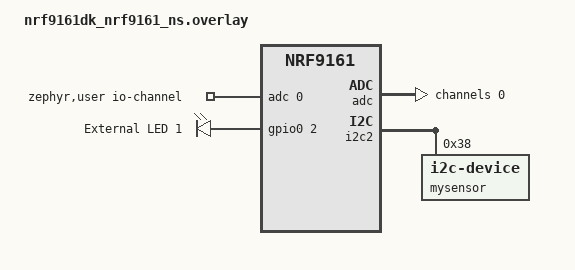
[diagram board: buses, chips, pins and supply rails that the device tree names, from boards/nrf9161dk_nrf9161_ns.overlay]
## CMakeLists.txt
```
# SPDX-License-Identifier: Apache-2.0

cmake_minimum_required(VERSION 3.20.0)

find_package(Zephyr REQUIRED HINTS $ENV{ZEPHYR_BASE})
project(inter_less8_exer4_solution)

target_sources(app PRIVATE src/main.c)
target_sources(app PRIVATE src/cloud_connection.c)

zephyr_include_directories(src)
```

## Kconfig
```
#
# Copyright (c) 2019 Nordic Semiconductor ASA
#
# SPDX-License-Identifier: LicenseRef-Nordic-5-Clause
#

menu "Bike Sharing"

config COAP_SERVER_HOSTNAME
	string "californium.eclipseprojects.io"

config COAP_SERVER_PORT
	int "CoAP server port"
	default 5683

config COAP_TX_RESOURCE
	string "CoAP resource - this is the TX channel of the board"
	default "large-update"

config COAP_RX_RESOURCE
	string "CoAP resource - this is the RX channel of the board"
	default "validate"

config TRACKER_PERIODIC_INTERVAL
	int "Fix interval for periodic GPS fixes. This determines your tracking frequency"
	range 10 65535
	default 120
	help
	  Fix interval (in seconds) for periodic fixes.

config TRACKER_PERIODIC_TIMEOUT
	int "Fix timeout for periodic GPS fixes"
	range 0 65535
	default 600
	help
	  Fix timeout (in seconds) for periodic fixes.
	  If set to zero, GNSS is allowed to run indefinitely until a valid PVT estimate is produced.

config GNSS_LOW_ACCURACY
	bool "Allow low accuracy fixes."
	help
	  Helps with faster fixes.GNSS demonstrates a looser acceptance criterion for a fix.

config GNSS_HIGH_ACCURACY_TIMING_SOURCE
	bool "Use Crystal oscillator"
	help
	  Use crystal oscillator (TCXO) timing source for the GNSS interface 
	  instead of the default Real time clock (RTC).TCXO has higher power consumption than RTC

endmenu

menu "Zephyr Kernel"
source "Kconfig.zephyr"
endmenu
```

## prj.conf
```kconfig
#
# Copyright (c) 2019 Nordic Semiconductor ASA
#
# SPDX-License-Identifier: LicenseRef-Nordic-5-Clause
#

# Logging
CONFIG_LOG=y
CONFIG_LOG_BUFFER_SIZE=20480

# Button and LED support
CONFIG_DK_LIBRARY=y

# NewLib C
CONFIG_NEWLIB_LIBC=y

# Floating point support
CONFIG_NEWLIB_LIBC_FLOAT_PRINTF=y
CONFIG_FPU=y

# JSON
CONFIG_CJSON_LIB=y
CONFIG_JSON_LIBRARY=y

# Network
CONFIG_NETWORKING=y
CONFIG_NET_NATIVE=n
CONFIG_NET_SOCKETS=y
CONFIG_NET_SOCKETS_OFFLOAD=y
CONFIG_NET_SOCKETS_POSIX_NAMES=y

# Memory
CONFIG_HEAP_MEM_POOL_SIZE=4096
CONFIG_MAIN_STACK_SIZE=8192

# Modem library
CONFIG_NRF_MODEM_LIB=y
CONFIG_MODEM_KEY_MGMT=y

# LTE link control
CONFIG_LTE_LINK_CONTROL=y
CONFIG_LTE_NETWORK_MODE_LTE_M_NBIOT=y
CONFIG_LTE_NETWORK_MODE_LTE_M_NBIOT_GPS=y

# AT commands interface
CONFIG_AT_HOST_LIBRARY=n
CONFIG_UART_INTERRUPT_DRIVEN=y

# GNSS
CONFIG_TRACKER_PERIODIC_INTERVAL=20
CONFIG_TRACKER_PERIODIC_TIMEOUT=50
CONFIG_GNSS_LOW_ACCURACY=n
CONFIG_GNSS_HIGH_ACCURACY_TIMING_SOURCE=n

# CoAP
CONFIG_COAP=y
CONFIG_COAP_SERVER_HOSTNAME="3.18.123.201"
CONFIG_COAP_TX_RESOURCE="cse-in/ae_11111"
CONFIG_COAP_RX_RESOURCE="cse-in/ae_11111"

# I2C
CONFIG_I2C=y
CONFIG_TFM_SECURE_UART=n
CONFIG_TFM_LOG_LEVEL_SILENCE=y

# ADC
CONFIG_ADC=y

# External Antenna
CONFIG_MODEM_ANTENNA=y #  Use modem antenna library
CONFIG_MODEM_ANTENNA_GNSS_ONBOARD=n # Disable onboard antenna
CONFIG_MODEM_ANTENNA_GNSS_EXTERNAL=y # Enable external antenna
CONFIG_MODEM_ANTENNA_AT_COEX0="AT%XCOEX0" # Disable onboard LNA

# GPIO
CONFIG_GPIO=y
```

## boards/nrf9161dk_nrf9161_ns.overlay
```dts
/ {
	zephyr,user {
		io-channels = <&adc 0>;
	};

	leds {
		extled1: ext-led-1 {
			gpios = <&gpio0 2 0>;
			label = "External LED 1";
		};
	};
};

&adc {
	#address-cells = <1>;
	#size-cells = <0>;
	status = "okay";
	channel@0 {
		reg = <0>;
		zephyr,gain = "ADC_GAIN_1_3";
		zephyr,reference = "ADC_REF_INTERNAL";
		zephyr,acquisition-time = <ADC_ACQ_TIME(ADC_ACQ_TIME_MICROSECONDS, 40)>;
		zephyr,input-positive = <NRF_SAADC_AIN4>; /* P0.17 for nRF916x*/
		zephyr,input-negative = <NRF_SAADC_AIN3>; /* P0.16 for nRF916x*/
		zephyr,resolution = <12>;
		zephyr,oversampling = <8>;
	};
};

&i2c2 {  
    mysensor: mysensor@38{
        compatible = "i2c-device";
        status = "okay";
        reg = < 0x38 >;
    };
};
```

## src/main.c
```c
/*
 * Copyright (c) 2019 Nordic Semiconductor ASA
 *
 * SPDX-License-Identifier: LicenseRef-Nordic-5-Clause
 */

#include <stdio.h>
#include <ncs_version.h>
#include <zephyr/kernel.h>
#include <zephyr/net/socket.h>
#include <zephyr/logging/log.h>
#include <modem/nrf_modem_lib.h>
#include <modem/lte_lc.h>
#include <dk_buttons_and_leds.h>
#include <zephyr/random/random.h>
#include <string.h>
#include "lte.h"
#include "coap_onem2m.h"
#include <zephyr/net/coap.h>
#include "i2c.h"
#include <zephyr/drivers/i2c.h>
#include <zephyr/sys/printk.h>
#include <zephyr/device.h>
#include <zephyr/devicetree.h>
#include "gnss.h"
#include <nrf_modem_gnss.h>
#include "battery.h"
#include <zephyr/sys/time_units.h>
#include <zephyr/drivers/gpio.h>

/*
testing_mode = 0: GNSS is used
testing_mode = 1: Mock GNSS data is used
testing_mode = 2: Mock GNSS data is used, end after one iteration
*/
int testing_mode = 1;

// Configure GPIO pins for external LED
#define EXTERNAL_LED_NODE DT_NODELABEL(extled1)
static const struct gpio_dt_spec lockled = GPIO_DT_SPEC_GET(EXTERNAL_LED_NODE, gpios);

int resolve_address_lock = 0;

// Define data points structures
union resource_data resource_placeholder;

struct bike bike_placeholder = {
	.latie = 0.0,
	.longe = 0.0,
	.tempe = 70.00,
	.speed = 3.20,
	.accel = 1.80
};

struct battery battery_placeholder = {
	.lvl = 0,
	.lowBy = false
};

struct mesh_connectivity mesh_placeholder = {
	.neibo = "00000",
	.stnr = 0,
};

struct lock lock_placeholder = {
	.lock = true
};

// Register this as the main module
LOG_MODULE_REGISTER(Main_Module, LOG_LEVEL_INF);

// Handler for button events
static void button_handler(uint32_t button_state, uint32_t has_changed)
{
	int err, received;

	// Button 1: Get lock data
	if (has_changed & DK_BTN1_MSK && button_state & DK_BTN1_MSK) {
		LOG_INF("Button 1 pressed\n");

		err = client_get_send(LOCK);
		if (err != 0) {
			LOG_ERR("Failed to send GET request...\n");
			return;
		}
		
		received = onem2m_receive();
		onem2m_parse(received, LOCK);	

		LOG_INF("Lock status: %s", lock_placeholder.lock ? "true" : "false");
		gpio_pin_set_dt(&lockled, lock_placeholder.lock);
	}

	// Button 2: Send bike data
	else if (has_changed & DK_BTN2_MSK && button_state & DK_BTN2_MSK) {
		LOG_INF("Button 2 pressed");

		bike_placeholder.latie += 1.0;
		bike_placeholder.longe += 1.0;
		resource_placeholder.bikedata = bike_placeholder;
		
		err = client_put_send(resource_placeholder, BIKEDATA);
		if (err != 0) {
			LOG_ERR("Failed to send PUT request...\n");
			return;
		}

		received = onem2m_receive();
		onem2m_parse(received, BIKEDATA);
	}

	// Button 3: Send battery data
	else if (has_changed & DK_BTN3_MSK && button_state & DK_BTN3_MSK) {
		LOG_INF("Button 3 pressed");

		battery_placeholder.lvl = get_battery_level();
		resource_placeholder.batterydata = battery_placeholder;
		
		err = client_put_send(resource_placeholder, BATTERY);
		if (err != 0) {
			LOG_ERR("Failed to send PUT request...\n");
			return;
		}
		
		received = onem2m_receive();
		onem2m_parse(received, BATTERY);
	}

	// Button 4: Send mesh data
	else if (has_changed & DK_BTN4_MSK && button_state & DK_BTN4_MSK) {
		LOG_INF("Button 4 pressed");

		mesh_placeholder.stnr += 1;
		resource_placeholder.meshdata = mesh_placeholder;

		err = client_put_send(resource_placeholder, MESH_CONNECTIVITY);
		if (err != 0) {
			LOG_ERR("Failed to send PUT request...\n");
			return;
		}
		
		received = onem2m_receive();
		onem2m_parse(received, MESH_CONNECTIVITY);
	}
}

// Initialization sequence function
static int init_all(void)
{
	// Initialize LED library
	if (dk_leds_init() != 0) {
		LOG_ERR("Failed to initialize the LED library");
		return -1;
	}

	// Configure modem
	if (modem_configure() != 0) {
		LOG_ERR("Failed to configure the modem");
		return -1;
	}

	// Initialize button library
	if (dk_buttons_init(button_handler) != 0) {
		LOG_ERR("Failed to initialize the buttons library");
		return -1;
	}

	// Initialize I2C temperature sensor
	if (i2c_init_temp_probe() != 0) {
		return -1;
	}

	// Initialize ADC battery monitoring
	if (battery_init() != 0) {
		return -1;
	}

	// Initialize GNSS if testing_mode is 0
	if (testing_mode == 0) {
		if (gnss_init() != 0) {
			return -1;
		}
	}
	
	// Initialize GPIO for external LED
	gpio_pin_configure_dt(&lockled, GPIO_OUTPUT_ACTIVE);
	gpio_pin_set_dt(&lockled, lock_placeholder.lock);

	return 0;
}

int main(void)
{
	int err, received;

	uint64_t start_time, end_time, loop_duration;
	int sleep_duration;
	int iteration_count = 0;

	struct nrf_modem_gnss_pvt_data_frame gnss_data;
	bool first_fix = false;

	// Initialization
	if (init_all() != 0) {
		LOG_ERR("Failed to initialize the application");
		return 0;
	}

	// Main loop
	while (1) {
		start_time = k_uptime_get();

		// Acquire data from GNSS receiver and sensors
		int lvl_temp = get_battery_level();
		bike_placeholder.tempe = i2c_get_temp();
		
		// A. If GNSS is available, use GNSS data
		if (testing_mode == 0) {
			k_sem_take(&gnss_fix_obtained, K_SECONDS(180)); // Await GNSS fix
			
			// Acquire data from GNSS receiver and sensors
			gnss_data = get_current_pvt();
			if (gnss_data.latitude != 0.0 || gnss_data.longitude != 0.0) {
				bike_placeholder.latie = gnss_data.latitude;
				bike_placeholder.longe = gnss_data.longitude;
				bike_placeholder.speed = gnss_data.speed;
				first_fix = true;
			}
		}
		
		// B. If GNSS is not available, use mock data
		else if (testing_mode >= 1) {
			bike_placeholder.latie = (40.791515) + ((sys_rand16_get() % 2 == 0 ? 1 : -1) * (sys_rand16_get() % 20 * 0.00001));
			bike_placeholder.longe = (-77.870764) + ((sys_rand16_get() % 2 == 0 ? 1 : -1) * (sys_rand16_get() % 20 * 0.00001));
			bike_placeholder.speed += ((sys_rand16_get() % 2 == 0 ? 1 : -1) * (sys_rand16_get() % 100 * 0.1));
			if (bike_placeholder.speed < 0) {
				bike_placeholder.speed = 0;
			}
			first_fix = true;
		}

		// Activate LTE
		if (lte_lc_func_mode_set(LTE_LC_FUNC_MODE_NORMAL) != 0) {
			LOG_ERR("Failed to activate LTE");
			continue;
		}

		if (k_sem_take(&lte_connected, K_SECONDS(30)) != 0) {
			LOG_ERR("Failed to connect to LTE network in time");
			LOG_INF("Modem restarting\n");
			nrf_modem_lib_shutdown();
			nrf_modem_lib_init();
			continue;
		}

		// Connect to the CoAP server
		if (resolve_address_lock == 0) {
			LOG_INF("Resolving the server address\r");
			if (server_resolve() != 0) {
				LOG_ERR("Failed to resolve server name\n");
				continue;
			}
			resolve_address_lock = 1;
		}

		if (client_init() != 0) {
			LOG_INF("Failed to initialize CoAP client");
			continue;
		}

		// Put BIKEDATA to the CoAP server
		resource_placeholder.bikedata = bike_placeholder;

		if (first_fix) {
			if (client_put_send(resource_placeholder, BIKEDATA) != 0) {
				LOG_ERR("Failed to send PUT request, exit...\n");
				break;
			}
			
			// Receive and parse response from the CoAP server
			received = onem2m_receive();
			if (received < 0) {
				LOG_ERR("Socket error: %d, exit", errno);
				break;
			} if (received == 0) {
				LOG_INF("Empty datagram");
				continue;
			}

			err = onem2m_parse(received, BIKEDATA);
			if (err < 0) {
				LOG_ERR("Invalid response, exit");
				break;
			}
		}

		// Put BATTERYDATA to the CoAP server, if the battery level has changed
		if (lvl_temp != battery_placeholder.lvl) {
			battery_placeholder.lvl = lvl_temp;
			resource_placeholder.batterydata = battery_placeholder;

			if (client_put_send(resource_placeholder, BATTERY) != 0) {
				LOG_ERR("Failed to send PUT request...\n");
				continue;
			}

			// Receive and parse response from the CoAP server
			received = onem2m_receive();
			if (received < 0) {
				LOG_ERR("Socket error: %d", errno);
				continue;
			} if (received == 0) {
				LOG_INF("Empty datagram");
				continue;
			}

			err = onem2m_parse(received, BATTERY);
			if (err < 0) {
				LOG_ERR("Invalid response");
				continue;
			}
		}

		// Put MESHDATA to the CoAP server
		if (testing_mode >= 1) {
			mesh_placeholder.stnr += 1;
		}

		resource_placeholder.meshdata = mesh_placeholder;
		
		if (client_put_send(resource_placeholder, MESH_CONNECTIVITY) != 0) {
			LOG_ERR("Failed to send PUT request...\n");
			continue;
		}
		
		// Receive and parse response from the CoAP server
		received = onem2m_receive();
		if (received < 0) {
			LOG_ERR("Socket error: %d", errno);
			continue;
		} if (received == 0) {
			LOG_INF("Empty datagram");
			continue;
		}

		err = onem2m_parse(received, MESH_CONNECTIVITY);
		if (err < 0) {
			LOG_ERR("Invalid response");
			continue;
		}

		// Get LOCKDATA from the CoAP server
		if (client_get_send(LOCK) != 0) {
			LOG_ERR("Failed to send GET request...\n");
			continue;
		}
		
		// Receive and parse response from the CoAP server
		received = onem2m_receive();
		if (received < 0) {
			LOG_ERR("Socket error: %d", errno);
			continue;
		} if (received == 0) {
			LOG_INF("Empty datagram");
			continue;
		}

		err = onem2m_parse(received, LOCK);
		if (err < 0) {
			LOG_ERR("Invalid response");
			continue;
		}

		LOG_INF("Lock status: %s", lock_placeholder.lock ? "true" : "false");
		gpio_pin_set_dt(&lockled, lock_placeholder.lock);

		// Disconnect from the CoAP server, deactivate LTE
		onem2m_close_socket();

		err = lte_lc_func_mode_set(LTE_LC_FUNC_MODE_DEACTIVATE_LTE);
		if (err != 0) {
			LOG_ERR("Failed to deactivate LTE and enable GNSS functional mode");
			continue;
		}

		// END OF LOOP
		if (testing_mode >= 2) {  // If in testing mode >= 2, break after one iteration
			break;
		}
		
		LOG_INF("Iteration %d complete", iteration_count + 1);
		iteration_count++;

		if (iteration_count % 30 == 0) {  // Restart modem every 30 iterations, bypass hourly LTE modem activation limit set by RPM
			LOG_INF("Modem restarting\n");
			nrf_modem_lib_shutdown();
			nrf_modem_lib_init();
		}
		
		// SLEEP
		end_time = k_uptime_get();
		loop_duration = end_time - start_time;
		sleep_duration = 6000 - loop_duration;
		LOG_INF("Loop duration: %llu ms", loop_duration);

		if (sleep_duration > 0) {
			k_sleep(K_MSEC(sleep_duration));
		}

		LOG_INF("\n\n");
	}

	onem2m_close_socket();
	LOG_INF("Application complete");

	return 0;
}
```

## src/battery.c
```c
#include <zephyr/kernel.h>
#include <zephyr/device.h>
#include <zephyr/devicetree.h>
#include <zephyr/logging/log.h>
#include <zephyr/drivers/adc.h>
#include <math.h> // round
#include "battery.h"

static const struct adc_dt_spec adc_channel = ADC_DT_SPEC_GET(DT_PATH(zephyr_user));

int16_t adc_sample_buf;
struct adc_sequence sequence = {
    .buffer = &adc_sample_buf,
    .buffer_size = sizeof(adc_sample_buf)
};

LOG_MODULE_REGISTER(Battery_Module, LOG_LEVEL_INF);

/**
 * @brief Initialize the battery monitoring.
 *
 * This function initializes the ADC channel and sequence for reading the battery voltage.
 *
 * @return 0 on success, or a negative error code on failure.
 */
int battery_init(void) {
    int err;

    // Check if the ADC controller device is ready
    if (!adc_is_ready_dt(&adc_channel)) {
        LOG_ERR("ADC controller devivce %s not ready", adc_channel.dev->name);
        return -1;
    }

    // Setup the ADC channel
    err = adc_channel_setup_dt(&adc_channel);
    if (err < 0) {
        LOG_ERR("Could not setup channel #%d (%d)", 0, err);
        return -1;
    }

    // Initialize the ADC sequence
    err = adc_sequence_init_dt(&adc_channel, &sequence);
    if (err < 0) {
        LOG_ERR("Could not initalize sequnce");
        return -1;
    }

    return 0;
}

/**
 * @brief Read the battery voltage from the ADC pin.
 *
 * This function reads the raw ADC value from the specified ADC channel,
 * converts it to millivolts, applies an offset, and returns the result.
 *
 * @return Battery voltage in millivolts, or -1 on error.
 */
int pin_read(void)
{
    int err;
    int val_mv;

    // Read the raw ADC value from the specified ADC channel
    err = adc_read(adc_channel.dev, &sequence);
    if (err < 0) {
        return -1;
    }

    // Convert the raw ADC value to millivolts
    val_mv = (int) adc_sample_buf;
    err = adc_raw_to_millivolts_dt(&adc_channel, &val_mv);
    if (err < 0) {
        return -1;
    }
    
    // Apply the measurement offset
    val_mv += BATTERY_MEASUREMENT_OFFSET_MV;

    return val_mv;
}

/**
 * @brief Get the battery level as a percentage.
 *
 * This function reads the battery voltage multiple times, averages the readings,
 * and calculates the battery level as a percentage based on predefined voltage ranges.
 *
 * @return Battery level as a percentage (0-100).
 */
int get_battery_level(void)
{
    // Sleep to allow for the voltage to stabilize
    k_sleep(K_MSEC(1000));

    // Collect voltage reading samples in an array
    char str_buf[64] = "Voltage samples (mV): ";
    char str_temp[8];

    int num_samples = 6;
    int val_mv_arr[num_samples];

    for (int i = 0; i < num_samples; i++) {
        val_mv_arr[i] = pin_read();  // Read the voltage
        
        snprintk(str_temp, sizeof(str_temp), "%d ", val_mv_arr[i]);
        strcat(str_buf, str_temp);
    }

    LOG_INF("%s", str_buf);

    // Calculate the average of the voltage readings
    int sum = 0;
    for (int i = 0; i < num_samples; i++) {
        sum += val_mv_arr[i];
    }

    int val_mv = (int) round((double)sum / num_samples);

    LOG_INF("Voltage average (mV): %d", val_mv);

    // Calculate battery level as a percentage
    double voltage_range = BATTERY_MAX_VOLTAGE_MV - BATTERY_MIN_VOLTAGE_MV;
    double normalized_voltage = (val_mv - BATTERY_MIN_VOLTAGE_MV) / voltage_range;
    int battery_level = (int)round(normalized_voltage * 100.0);

    LOG_INF("Battery level (%%): %d", battery_level);
    
    return battery_level;
}
```

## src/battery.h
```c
#include <zephyr/kernel.h>
#include <zephyr/device.h>
#include <zephyr/devicetree.h>
#include <zephyr/logging/log.h>
#include <zephyr/drivers/adc.h>
#include <math.h>

#define BATTERY_MAX_VOLTAGE_MV 1440
#define BATTERY_MIN_VOLTAGE_MV 1218
#define BATTERY_MEASUREMENT_OFFSET_MV -54

// Initialize the battery monitoring
int battery_init(void);

// Read the battery voltage from the ADC pin
int pin_read(void);

// Get the battery level as a percentage
int get_battery_level(void);
```

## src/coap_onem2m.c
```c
#include <stdio.h>
#include <ncs_version.h>
#include <zephyr/kernel.h>
#include <zephyr/net/socket.h>
#include <zephyr/logging/log.h>
#include <modem/nrf_modem_lib.h>
#include <modem/lte_lc.h>
#include <dk_buttons_and_leds.h>
#include <zephyr/random/random.h>
#include <string.h>
#include "lte.h"
#include <zephyr/net/coap.h>
#include "coap_onem2m.h"
#include "main.h"

char message_buffer[200];  // Buffer for messages to be sent to the server
char originator[] = "CAdmin";

static uint8_t coap_buf[APP_COAP_MAX_MSG_LEN];  // Buffer for received CoAP messages
static uint16_t next_token;  // Token of the next CoAP message

static uint8_t request_identifier;  // oneM2M RQI request identifier
static char request_identifier_str[9];

static int sock;
static struct sockaddr_storage server;

LOG_MODULE_REGISTER(CoAP_Module, LOG_LEVEL_INF);

/**
 * @brief Helper function for creating GET request payload.
 *
 * This function generates a JSON formatted string containing attributes to retrieve from the server
 * based on the specified resource type and copies it to the provided buffer.
 *
 * @param str_buffer Pointer to the buffer where the generated payload string will be copied.
 * @param res Enum value specifying the resource type for which the payload is to be created.
 *
 * @return 0 on success, or a negative error code on failure.
 */
int create_get_request_payload(char* str_buffer, enum resource res)
{
	char payload_str[200];

	switch (res) {
		case BIKEDATA:
			snprintk(payload_str, sizeof(payload_str), "{\"m2m:atrl\": [\"latie\", \"longe\", \"speed\", \"accel\", \"tempe\"]}");
			break;
		case BATTERY:
			snprintk(payload_str, sizeof(payload_str), "{\"m2m:atrl\": [\"lvl\", \"lowBy\"]}");
			break;
		case MESH_CONNECTIVITY:
			snprintk(payload_str, sizeof(payload_str), "{\"m2m:atrl\": [\"neibo\", \"stnr\"]}");
			break;
		case LOCK:
			snprintk(payload_str, sizeof(payload_str), "{\"m2m:atrl\": [\"lock\"]}");
			break;
		default:
			LOG_ERR("Unknown resource type");
			return -EINVAL;
	}

	strcpy(str_buffer, payload_str);

	return 0;
}

/**
 * @brief Helper function for creating PUT request payload.
 *
 * This function generates a JSON formatted string containing the data to be sent to the server
 * based on the specified resource type and copies it to the provided buffer.
 *
 * @param str_buffer Pointer to the buffer where the generated payload string will be copied.
 * @param res_data Union containing the resource data to be included in the payload.
 * @param res Enum value specifying the resource type for which the payload is to be created.
 *
 * @return 0 on success, or a negative error code on failure.
 */
int create_put_request_payload(char* str_buffer, union resource_data res_data, enum resource res)
{
    char payload_str[200];

    switch (res) {
        case BIKEDATA:
            // Extract bike data from the union and log the values
            struct bike bike_placeholder = res_data.bikedata;

            LOG_INF("latie: %.06f", (double) bike_placeholder.latie);
            LOG_INF("longe: %.06f", (double) bike_placeholder.longe);
            LOG_INF("speed: %.02f", (double) bike_placeholder.speed);
            LOG_INF("accel: %.02f", (double) bike_placeholder.accel);
            LOG_INF("tempe: %.02f", (double) bike_placeholder.tempe);

            // Format the bike data into a JSON string
            snprintk(payload_str, sizeof(payload_str), "{\"bdm:bikDt\": {\"latie\": %.06f, \"longe\": %.06f, \"speed\": %.01f, \"accel\": %.01f, \"tempe\": %.01f}}",
                     (double) bike_placeholder.latie, (double) bike_placeholder.longe, (double) bike_placeholder.speed, (double) bike_placeholder.accel, (double) bike_placeholder.tempe);
            break;

        case BATTERY:
            // Extract battery data from the union and log the values
            struct battery battery_placeholder = res_data.batterydata;

            LOG_INF("lvl: %d", battery_placeholder.lvl);
            LOG_INF("lowBy: %s", battery_placeholder.lowBy ? "true" : "false");

            // Format the battery data into a JSON string
            snprintk(payload_str, sizeof(payload_str), "{\"cod:bat\": {\"lvl\": %d, \"lowBy\": %s}}",
                     battery_placeholder.lvl, battery_placeholder.lowBy ? "true" : "false");
            break;

        case MESH_CONNECTIVITY:
            // Extract mesh connectivity data from the union and log the values
            struct mesh_connectivity mesh_placeholder = res_data.meshdata;

            LOG_INF("neibo: %s", mesh_placeholder.neibo);
            LOG_INF("stnr: %d", mesh_placeholder.stnr);

            // Format the mesh connectivity data into a JSON string
            snprintk(payload_str, sizeof(payload_str), "{\"bdm:msCoy\": {\"neibo\": \"%s\", \"stnr\": %d}}",
                     mesh_placeholder.neibo, mesh_placeholder.stnr);
            break;

        case LOCK:
            // Extract lock data from the union and format it into a JSON string
            struct lock lock_placeholder = res_data.lockdata;

            snprintk(payload_str, sizeof(payload_str), "{\"cod:lock\": {\"lock\": %s}}",
                     lock_placeholder.lock ? "true" : "false");
            break;

        default:
            LOG_ERR("Unknown resource type");
            return -EINVAL;
    }

    // Copy the generated JSON string to the provided buffer
    strcpy(str_buffer, payload_str);

    return 0;
}

/**
 * @brief Helper function for encoding options for oneM2M CoAP requests.
 *
 * This function appends the necessary CoAP options to the provided CoAP packet for oneM2M requests.
 *
 * @param request Pointer to the CoAP packet to which the options are to be appended.
 * @param res Enum value specifying the resource type for which the options are to be appended.
 * @param rx_or_tx String containing the RX or TX resource channel path.
 *
 * @return 0 on success, or a negative error code on failure.
 */
int onem2m_coap_options_helper(struct coap_packet *request, enum resource res, char* rx_or_tx)
{
    int err;

    // 1. Append the resource path
    uint8_t uri_path[256];
    switch (res) {
        case BIKEDATA:
            snprintk(uri_path, sizeof(uri_path), "%s/bikeData", rx_or_tx);
            break;
        case BATTERY:
            snprintk(uri_path, sizeof(uri_path), "%s/battery", rx_or_tx);
            break;
        case MESH_CONNECTIVITY:
            snprintk(uri_path, sizeof(uri_path), "%s/meshConnectivity", rx_or_tx);
            break;
        case LOCK:
            snprintk(uri_path, sizeof(uri_path), "%s/lock", rx_or_tx);
            break;
        default:
            LOG_ERR("Unknown resource type");
            return -EINVAL;
    }

    LOG_INF("URI path: %s", uri_path);

    err = coap_packet_append_option(
        request,
        COAP_OPTION_URI_PATH,
        (uint8_t *)uri_path,
        strlen(uri_path)
    );
    if (err < 0) {
        LOG_ERR("Failed to encode CoAP option URI path, %d", err);
        return err;
    }

    // 2. Append the CoAP content format as OneM2M JSON
    const uint8_t onem2m_json = COAP_CONTENT_FORMAT_ONEM2M_JSON;
    err = coap_packet_append_option(
        request,
        COAP_OPTION_CONTENT_FORMAT,
        &onem2m_json,
        sizeof(onem2m_json)
    );
    if (err < 0) {
        LOG_ERR("Failed to encode CoAP option content format, %d", err);
        return err;
    }

    // 3. Append the OneM2M type as FlexContainer
    const uint8_t coap_content_format_onem2m_ty_flexcontainer = COAP_CONTENT_FORMAT_ONEM2M_TY_FLEXCONTAINER;
    err = coap_packet_append_option(
        request,
        COAP_OPTION_ONEM2M_TY,
        (uint8_t *)&coap_content_format_onem2m_ty_flexcontainer,
        sizeof(coap_content_format_onem2m_ty_flexcontainer)
    );
    if (err < 0) {
        LOG_ERR("Failed to encode CoAP option oneM2M TY, %d", err);
        return err;
    }

    // 4. Append the OneM2M version as 3
    char app_onem2m_version[2];
    snprintk(app_onem2m_version, sizeof(app_onem2m_version), "%d", APP_ONEM2M_VERSION);
    err = coap_packet_append_option(
        request,
        COAP_OPTION_ONEM2M_RVI,
        (uint8_t *)&app_onem2m_version,
        strlen(app_onem2m_version)
    );
    if (err < 0) {
        LOG_ERR("Failed to encode CoAP option oneM2M RVI, %d", err);
        return err;
    }

    // 5. Append the OneM2M originator as CAdmin
    err = coap_packet_append_option(
        request,
        COAP_OPTION_ONEM2M_FR,
        (uint8_t *)originator,
        strlen(originator)
    );
    if (err < 0) {
        LOG_ERR("Failed to encode CoAP option oneM2M FR, %d", err);
        return err;
    }

    // 6. Append the OneM2M request identifier
    request_identifier = sys_rand32_get();
    snprintk(request_identifier_str, sizeof(request_identifier_str), "%08x", request_identifier);
    err = coap_packet_append_option(
        request,
        COAP_OPTION_ONEM2M_RQI,
        (uint8_t *)&request_identifier_str,
        strlen(request_identifier_str)
    );
    if (err < 0) {
        LOG_ERR("Failed to encode CoAP option oneM2M RQI, %d", err);
        return err;
    }

    return 0;
}

/**
 * @brief Resolves the configured hostname.
 *
 * This function resolves the hostname of the CoAP server to an IPv4 address
 * and stores the result in the global `server` structure.
 *
 * @return 0 on success, or a negative error code on failure.
 */
int server_resolve(void)
{
    int err;
    struct addrinfo *result;
    struct addrinfo hints = {
        .ai_family = AF_INET,
        .ai_socktype = SOCK_DGRAM
    };
    char ipv4_addr[NET_IPV4_ADDR_LEN];

    // Resolve the hostname to an address
    err = getaddrinfo(CONFIG_COAP_SERVER_HOSTNAME, NULL, &hints, &result);
    if (err != 0) {
        LOG_ERR("ERROR: getaddrinfo failed %d", err);
        return -EIO;
    }

    if (result == NULL) {
        LOG_ERR("ERROR: Address not found");
        return -ENOENT;
    }

    // Store the resolved IPv4 address to the server structure
    struct sockaddr_in *server4 = ((struct sockaddr_in *)&server);

    server4->sin_addr.s_addr = ((struct sockaddr_in *)result->ai_addr)->sin_addr.s_addr;
    server4->sin_family = AF_INET;
    server4->sin_port = htons(CONFIG_COAP_SERVER_PORT);

    // Log the resolved IPv4 address
    inet_ntop(AF_INET, &server4->sin_addr.s_addr, ipv4_addr, sizeof(ipv4_addr));
    LOG_INF("IPv4 Address found %s", ipv4_addr);

    // Free the address
    freeaddrinfo(result);

    return 0;
}

/**
 * @brief Initialize the CoAP client.
 *
 * This function creates a UDP socket, connects it to the specified server,
 * and initializes the token for CoAP requests.
 *
 * @return 0 on success, or a negative error code on failure.
 */
int client_init(void)
{
    int err;

    // Create a UDP socket
    sock = socket(AF_INET, SOCK_DGRAM, IPPROTO_UDP);
    if (sock < 0) {
        LOG_ERR("Failed to create CoAP socket: %d", errno);
        return -errno;
    }

    // Connect the socket to the server
    err = connect(sock, (struct sockaddr *)&server, sizeof(struct sockaddr_in));
    if (err < 0) {
        LOG_ERR("Connect failed: %d", errno);
        return -errno;
    }

    LOG_INF("Successfully connected to server");

    // Initialize the token for CoAP requests
    next_token = sys_rand32_get();

    return 0;
}

/**
 * @brief Send CoAP GET request.
 *
 * This function creates and sends a CoAP GET request to the server.
 *
 * @param res Enum value specifying the resource type for which the GET request is to be sent.
 *
 * @return 0 on success, or a negative error code on failure.
 */
int client_get_send(enum resource res)
{
    int err;
    struct coap_packet request;
    next_token = sys_rand32_get();

    // Initialize the CoAP packet
    err = coap_packet_init(
        &request,
        coap_buf,
        sizeof(coap_buf),
        APP_COAP_VERSION,
        COAP_TYPE_CON,
        sizeof(next_token),
        (uint8_t *)&next_token,
        COAP_METHOD_GET,
        coap_next_id()
    );
    if (err < 0) {
        LOG_ERR("Failed to create CoAP request, %d", err);
        return err;
    }

    // Append oneM2M CoAP options
    err = onem2m_coap_options_helper(&request, res, CONFIG_COAP_RX_RESOURCE);
    if (err < 0) {
        LOG_ERR("Failed to append CoAP options, %d", err);
        return err;
    }

    // Add the payload marker to the message
    err = coap_packet_append_payload_marker(&request);
    if (err < 0) {
        LOG_ERR("Failed to append payload marker, %d", err);
        return err;
    }

    // Create and append the payload
    create_get_request_payload(message_buffer, res);
    err = coap_packet_append_payload(
        &request,
        (uint8_t *)message_buffer,
        strlen(message_buffer)
    );
    if (err < 0) {
        LOG_ERR("Failed to append payload, %d", err);
        return err;
    }

    // Send the configured CoAP packet
    err = send(sock, request.data, request.offset, 0);
    if (err < 0) {
        LOG_ERR("Failed to send CoAP request, %d", errno);
        return -errno;
    }

    LOG_INF("CoAP GET request sent: Token 0x%04x", next_token);

    return 0;
}

/**
 * @brief Send CoAP PUT request.
 *
 * This function creates and sends a CoAP PUT request to the server.
 *
 * @param res_data Union containing the resource data to be included in the payload.
 * @param res Enum value specifying the resource type for which the PUT request is to be sent.
 *
 * @return 0 on success, or a negative error code on failure.
 */
int client_put_send(union resource_data res_data, enum resource res)
{
    int err;
    struct coap_packet request;
    next_token = sys_rand32_get();

    // Initialize the CoAP packet
    err = coap_packet_init(
        &request,
        coap_buf,
        sizeof(coap_buf),
        APP_COAP_VERSION,
        COAP_TYPE_NON_CON,
        sizeof(next_token),
        (uint8_t *)&next_token,
        COAP_METHOD_PUT,
        coap_next_id()
    );
    if (err < 0) {
        LOG_ERR("Failed to create CoAP request, %d", err);
        return err;
    }

    // Append oneM2M CoAP options
    err = onem2m_coap_options_helper(&request, res, CONFIG_COAP_TX_RESOURCE);
    if (err < 0) {
        LOG_ERR("Failed to append CoAP options, %d", err);
        return err;
    }

    // Add the payload marker to the message
    err = coap_packet_append_payload_marker(&request);
    if (err < 0) {
        LOG_ERR("Failed to append payload marker, %d", err);
        return err;
    }

    // Create and append the payload
    create_put_request_payload(message_buffer, res_data, res);
    err = coap_packet_append_payload(
        &request,
        (uint8_t *)message_buffer,
        strlen(message_buffer)
    );
    if (err < 0) {
        LOG_ERR("Failed to append payload, %d", err);
        return err;
    }

    // Send the configured CoAP packet
    err = send(sock, request.data, request.offset, 0);
    if (err < 0) {
        LOG_ERR("Failed to send CoAP request, %d", errno);
        return -errno;
    }

    LOG_INF("CoAP PUT request sent: Token 0x%04x", next_token);

    return 0;
}

/**
 * @brief Handles responses from the remote CoAP server.
 *
 * This function parses the received CoAP response, verifies the token, retrieves the payload,
 * logs the response details, and processes the payload based on the specified resource type.
 *
 * @param buf Pointer to the buffer containing the received CoAP response.
 * @param received The length of the received CoAP response.
 * @param res Enum value specifying the resource type for which the response is to be parsed.
 *
 * @return 0 on success, or a negative error code on failure.
 */
int client_handle_response(uint8_t *buf, int received, enum resource res)
{
    struct coap_packet reply;
    uint8_t token[8];
    uint16_t token_len;
    const uint8_t *payload;
    uint16_t payload_len;
    uint8_t temp_buf[512];

    // Parse the received CoAP packet
    int err = coap_packet_parse(&reply, buf, received, NULL, 0);
    if (err < 0) {
        LOG_ERR("Malformed response received: %d", err);
        return err;
    }

    // Confirm the token in the response matches the token sent
    token_len = coap_header_get_token(&reply, token);
    if ((token_len != sizeof(next_token)) || 
        (memcmp(&next_token, token, sizeof(next_token)) != 0)) 
    {
        LOG_ERR("Invalid token received: 0x%02x%02x", token[1], token[0]);
        return 0;
    }

    // Retrieve the payload and confirm it's nonzero
    payload = coap_packet_get_payload(&reply, &payload_len);
    if (payload_len > 0) { 
        snprintf(temp_buf, MIN(payload_len+1, sizeof(temp_buf)), "%s", payload); 
    } 
	else { 
        strcpy(temp_buf, "EMPTY"); 
    }

    // Log the header code, token, and payload of the response
    LOG_INF("CoAP response: Code 0x%x, Token 0x%02x%02x, Payload: %s",
            coap_header_get_code(&reply), token[1], token[0], (char *)temp_buf);

    // Based on the resource type, process the payload
    char* str_buffer = (char *)temp_buf; 
    if (res == LOCK) {  // Expected response: {"cod:lock": {"lock": true}}
        // LOG_INF("%c", str_buffer[22]);
        
        if (str_buffer[22] == 't') {
            lock_placeholder.lock = true;
        } 
		else if (str_buffer[22] == 'f') {
            lock_placeholder.lock = false;
        }
    }

    return 0;
}

/**
 * @brief Parse the received CoAP response.
 *
 * This function handles the parsing of the received CoAP response based on the specified resource type.
 *
 * @param received The length of the received CoAP response.
 * @param res Enum value specifying the resource type for which the response is to be parsed.
 *
 * @return 0 on success, or a negative error code on failure.
 */
int onem2m_parse(int received, enum resource res)
{
    return client_handle_response(coap_buf, received, res);
}

/**
 * @brief Receive data from the CoAP server.
 * 
 * @return length of the received data, or a negative error code on failure.
 */
ssize_t onem2m_receive(void)
{
    return recv(sock, coap_buf, sizeof(coap_buf), 0);
}

/**
 * @brief Close the CoAP socket.
 */
void onem2m_close_socket(void)
{
    return (void)close(sock);
}
```

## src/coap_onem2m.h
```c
#include <stdio.h>
#include <ncs_version.h>
#include <zephyr/kernel.h>
#include <zephyr/net/socket.h>
#include <zephyr/logging/log.h>
#include <modem/nrf_modem_lib.h>
#include <modem/lte_lc.h>
#include <dk_buttons_and_leds.h>
#include <zephyr/random/random.h>
#include <string.h>
#include "lte.h"
#include <zephyr/net/coap.h>

/* oneM2M CoAP Option codes */
#define COAP_OPTION_ONEM2M_OT 259
#define COAP_OPTION_ONEM2M_RTURI 263
#define COAP_OPTION_ONEM2M_TY 267
#define COAP_OPTION_ONEM2M_RVI 271
#define COAP_OPTION_ONEM2M_ASRI 275
#define COAP_OPTION_ONEM2M_FR 279
#define COAP_OPTION_ONEM2M_RQI 283
#define COAP_OPTION_ONEM2M_RQET 291
#define COAP_OPTION_ONEM2M_RSET 295
#define COAP_OPTION_ONEM2M_OET 299
#define COAP_OPTION_ONEM2M_EC 303
#define COAP_OPTION_ONEM2M_RSC 307
#define COAP_OPTION_ONEM2M_GID 311
#define COAP_OPTION_ONEM2M_CTO 319
#define COAP_OPTION_ONEM2M_CTS 323
#define COAP_OPTION_ONEM2M_ATI 327
#define COAP_OPTION_ONEM2M_VSI 331
#define COAP_OPTION_ONEM2M_GTM 335
#define COAP_OPTION_ONEM2M_AUS 339
#define COAP_OPTION_ONEM2M_OMR 343
#define COAP_OPTION_ONEM2M_PRPI 347
#define COAP_OPTION_ONEM2M_MSU 351

/* oneM2M CoAP Content Types */
#define COAP_CONTENT_FORMAT_ONEM2M_TY_AE 2
#define COAP_CONTENT_FORMAT_ONEM2M_TY_CONTAINER 3
#define COAP_CONTENT_FORMAT_ONEM2M_TY_CONTAINER_INSTANCE 4
#define COAP_CONTENT_FORMAT_ONEM2M_TY_FLEXCONTAINER 28

/* CoAP Content Formats */
#define COAP_CONTENT_FORMAT_ONEM2M_JSON 50

#define APP_COAP_VERSION 1
#define APP_COAP_MAX_MSG_LEN 1280
#define APP_ONEM2M_VERSION 3

struct bike {
    double latie;
    double longe;
    double tempe;
    double speed;
    double accel;
};

struct battery {
    int lvl;
    bool lowBy;
};

struct mesh_connectivity {
    char neibo[20];
    int stnr;
};

struct lock {
    bool lock;
};

union resource_data {
    struct bike bikedata;
    struct battery batterydata;
    struct mesh_connectivity meshdata;
    struct lock lockdata;
};

enum resource {
    BIKEDATA = 0,
    BATTERY = 1,
    MESH_CONNECTIVITY = 2,
    LOCK = 3
};

ssize_t coap_receive(void);
int create_get_request_payload(char* str_buffer, enum resource res);
int create_put_request_payload(char* str_buffer, union resource_data res_data, enum resource res);
int onem2m_coap_options_helper(struct coap_packet *request, enum resource res, char* rx_or_tx);
int server_resolve(void);
int client_init(void);
int client_get_send(enum resource res);
int client_put_send(union resource_data res_data, enum resource res);
int client_handle_response(uint8_t *buf, int received, enum resource res);
ssize_t onem2m_receive(void);
void onem2m_close_socket(void);
int onem2m_parse(int received, enum resource res);
```

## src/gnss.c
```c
#include <stdio.h>
#include <ncs_version.h>
#include <zephyr/kernel.h>
#include <zephyr/logging/log.h>
#include <modem/nrf_modem_lib.h>
#include <modem/modem_key_mgmt.h>
#include <nrf_modem_gnss.h>

K_SEM_DEFINE(gnss_fix_obtained, 0, 1);

LOG_MODULE_REGISTER(GNSS_Module, LOG_LEVEL_INF);

struct nrf_modem_gnss_pvt_data_frame last_pvt;  // Last PVT data
struct nrf_modem_gnss_pvt_data_frame current_pvt;  // Most current and valid PVT data

int gnss_event_count = 0;
int period_num_satellites = 0;  // Number of satellites tracked

// Print the latitude and longitude, and other data from PVT data
void print_fix_data(struct nrf_modem_gnss_pvt_data_frame *pvt_data)
{
	LOG_INF("Latitude:    %.06f", pvt_data->latitude);
	LOG_INF("Longitude:   %.06f", pvt_data->longitude);
	LOG_INF("Speed: 	  %.02f", pvt_data->speed);
}

// Return the current PVT data
struct nrf_modem_gnss_pvt_data_frame get_current_pvt(void)
{
    return current_pvt;
}

// Handler for GNSS events
void gnss_event_handler(int event)
{
	switch (event)
    {
	case NRF_MODEM_GNSS_EVT_PVT:
	
		gnss_event_count++;

		if (gnss_event_count == 1) {
			LOG_INF("Searching for GNSS Satellites....\r");

			// Count and log the number of tracked satellites

			int last_num_satellites = 0;

			for (int i = 0; i < NRF_MODEM_GNSS_MAX_SATELLITES; i++) {
				if (last_pvt.sv[i].sv > 0) {
					last_num_satellites++;
				}
			}

			if (last_num_satellites > period_num_satellites) {
				period_num_satellites = last_num_satellites;
			}
			
			LOG_INF("Number of satellites: %d\r", period_num_satellites);
		}

		// Every 30 seconds or 30 PVT events, reset counter and number of satellites tracked
		else if (gnss_event_count == 30) {
			gnss_event_count = 0;
			period_num_satellites = 0;
		}

		break;

	case NRF_MODEM_GNSS_EVT_FIX:
		LOG_INF("GNSS fix event\r");

		// Reset the GNSS event counter and the number of satellites tracked
		gnss_event_count = 0;
		period_num_satellites = 0;
		break;

	case NRF_MODEM_GNSS_EVT_PERIODIC_WAKEUP:
		LOG_INF("GNSS woke up in periodic mode\r");
		break;

	case NRF_MODEM_GNSS_EVT_BLOCKED:
		LOG_INF("GNSS is blocked by LTE event\r");
		break;

	case NRF_MODEM_GNSS_EVT_SLEEP_AFTER_FIX:
		LOG_INF("GNSS enters sleep because fix was achieved in periodic mode\r");

		// Valid fix achieved, read and store the last PVT data
		int32_t retval = nrf_modem_gnss_read(&last_pvt, sizeof(last_pvt), NRF_MODEM_GNSS_DATA_PVT);
		if (retval == 0)
        {
			current_pvt = last_pvt;
			print_fix_data(&current_pvt);
			k_sem_give(&gnss_fix_obtained);  // Signal that a fix has been obtained
		}
		break;

	case NRF_MODEM_GNSS_EVT_SLEEP_AFTER_TIMEOUT:
		LOG_INF("GNSS enters sleep because fix retry timeout was reached\r");
		break;

	default:
		break;
	}
}

// Initialize GNSS
int gnss_init(void)
{
	// Use high accuracy timing source if configured
	#if defined(CONFIG_GNSS_HIGH_ACCURACY_TIMING_SOURCE)
		if (nrf_modem_gnss_timing_source_set(NRF_MODEM_GNSS_TIMING_SOURCE_TCXO)){
			LOG_ERR("Failed to set TCXO timing source");
			return -1;
		}
	#endif

	// Allow for low accuracy location fixes if configured
	#if defined(CONFIG_GNSS_LOW_ACCURACY) || defined (CONFIG_BOARD_THINGY91_NRF9160_NS)
		uint8_t use_case;
		use_case = NRF_MODEM_GNSS_USE_CASE_MULTIPLE_HOT_START | NRF_MODEM_GNSS_USE_CASE_LOW_ACCURACY;
		if (nrf_modem_gnss_use_case_set(use_case) != 0) {
			LOG_ERR("Failed to set low accuracy use case");
			return -1;
		}
	#endif

	// Set GNSS event handler to process GNSS events
	if (nrf_modem_gnss_event_handler_set(gnss_event_handler) != 0) {
		LOG_ERR("Failed to set GNSS event handler");
		return -1;
	}

	// Set the GNSS fix interval (time between fixes)
	if (nrf_modem_gnss_fix_interval_set(CONFIG_TRACKER_PERIODIC_INTERVAL) != 0) {
		LOG_ERR("Failed to set GNSS fix interval");
		return -1;
	}

	// Set the GNSS fix retry timeout (time to wait for a fix)
	if (nrf_modem_gnss_fix_retry_set(CONFIG_TRACKER_PERIODIC_TIMEOUT) != 0) {
		LOG_ERR("Failed to set GNSS fix retry");
		return -1;
	}

	// Start the GNSS module
	if (nrf_modem_gnss_start() != 0) {
		LOG_ERR("Failed to start GNSS");
		return -1;
	}

	// Enable GNSS priority mode to prioritize GNSS over LTE
	if (nrf_modem_gnss_prio_mode_enable() != 0){
		LOG_ERR("Error setting GNSS priority mode");
		return -1;
	}
	return 0;
}
```

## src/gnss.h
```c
#include <stdio.h>
#include <ncs_version.h>
#include <zephyr/kernel.h>
#include <zephyr/logging/log.h>
#include <modem/nrf_modem_lib.h>
#include <modem/modem_key_mgmt.h>
#include <nrf_modem_gnss.h>

extern struct k_sem gnss_fix_obtained;

// Print the latitude and longitude, and other data from PVT data
void print_fix_data(struct nrf_modem_gnss_pvt_data_frame *pvt_data);

// Return the current PVT data
struct nrf_modem_gnss_pvt_data_frame get_current_pvt(void);

// Handler for GNSS events
void gnss_event_handler(int event);

// Initialize GNSS
int gnss_init(void);
```

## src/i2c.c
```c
#include <zephyr/kernel.h>
#include <zephyr/device.h>
#include <zephyr/devicetree.h>
#include <zephyr/drivers/i2c.h>
#include <zephyr/sys/printk.h>
#include "i2c.h"
#include <zephyr/logging/log.h>

static const struct i2c_dt_spec dev_i2c = I2C_DT_SPEC_GET(I2C0_NODE);

LOG_MODULE_REGISTER(I2C_Module, LOG_LEVEL_INF);

int i2c_init_temp_probe(void) {
    int err;
    
	if (!device_is_ready(dev_i2c.bus)) {
		LOG_ERR("I2C bus %s is not ready!\n\r",dev_i2c.bus->name);
		return -1;
	}

    /* Setting it to freerun mode */

    uint8_t config[2] = {STTS751_CONFIG_REG,0b00000100};
	err = i2c_write_dt(&dev_i2c, config, sizeof(config));
	if (err != 0) {
		LOG_ERR("Failed to write to I2C device address %x at Reg. %x \n", dev_i2c.addr,config[0]);
		return -1;
	}
    return 0;
}

double i2c_get_temp(void) {
    int err;
    // Getting the temperature
    uint8_t temp_reading[2]= {0};
    uint8_t sensor_regs[2] ={STTS751_TEMP_LOW_REG,STTS751_TEMP_HIGH_REG};
    err = i2c_write_read_dt(&dev_i2c,&sensor_regs[0],1,&temp_reading[0],1);
    if (err != 0) {
        LOG_ERR("Failed to write/read I2C device address %x at Reg. %x \r\n", dev_i2c.addr,sensor_regs[0]);
    }
    err = i2c_write_read_dt(&dev_i2c,&sensor_regs[1],1,&temp_reading[1],1);
    if (err != 0) {
        LOG_ERR("Failed to write/read I2C device address %x at Reg. %x \r\n", dev_i2c.addr,sensor_regs[1]);
    }

    // Convert the two bytes
    int temp = ((int)temp_reading[1] * 256 + ((int)temp_reading[0] & 0xF0)) / 16;
    if (temp > 2047) {
        temp -= 4096;
    }
    //printk(temp>>4);
    LOG_INF("Temperature (int) retrieved: %d", temp);
    // Convert to degrees units 
    double cTemp = temp * 0.125;
    double fTemp = cTemp * 1.8 + 32;
    LOG_INF("Temperature (C) retrieved: %0.2f", cTemp);
    return cTemp;
}
```

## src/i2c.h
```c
#include <zephyr/devicetree.h>

#ifndef I2C_H_

#define STTS751_TEMP_HIGH_REG            0x07
#define STTS751_TEMP_LOW_REG             0x06
#define STTS751_CONFIG_REG               0x04

#define I2C0_NODE_TEMP DT_NODELABEL(sensor_temp)
#define I2C0_NODE_ACC DT_NODELABEL(sensor_acc)

#define LIS2DUX12_CONFIG_REG            0x13
#define LIS2DUX12_CONFIG_REG_FIFO_ENABLE 0b00001000

#define LIS2DUX12_FIFO_CONFIG_REG1                          0x14
#define LIS2DUX12_FIFO_CONFIG_REG1_POWER_DOWN               0b00000000
#define LIS2DUX12_FIFO_CONFIG_REG1_1p6hz_ultralow_power     0b00010000
#define LIS2DUX12_FIFO_CONFIG_REG1_3hz_ultralow_power       0b00100000
#define LIS2DUX12_FIFO_CONFIG_REG1_25hz_ultralow_power      0b00110000
#define LIS2DUX12_FIFO_CONFIG_REG1_6hz                      0b01000000
#define LIS2DUX12_FIFO_CONFIG_REG1_12p5hz                   0b01010000
#define LIS2DUX12_FIFO_CONFIG_REG1_25hz                     0b01100000
#define LIS2DUX12_FIFO_CONFIG_REG1_50hz                     0b01110000
#define LIS2DUX12_FIFO_CONFIG_REG1_100hz                    0b10000000
#define LIS2DUX12_FIFO_CONFIG_REG1_200hz                    0b10010000
#define LIS2DUX12_FIFO_CONFIG_REG1_400hz                    0b10100000
#define LIS2DUX12_FIFO_CONFIG_REG1_800hz                    0b10110000
#define LIS2DUX12_FIFO_CONFIG_REG1_pm2g                     0b00000000
#define LIS2DUX12_FIFO_CONFIG_REG1_pm4g                     0b00000001
#define LIS2DUX12_FIFO_CONFIG_REG1_pm8g                     0b00000010
#define LIS2DUX12_FIFO_CONFIG_REG1_pm16g                    0b00000011

#define LIS2DUX12_FIFO_CONFIG_REG2      0x15
#define LIS2DUX12_FIFO_CONFIG_REG2_bypass                   0b00000000
#define LIS2DUX12_FIFO_CONFIG_REG2_continuous               0b00000110

#define LIS2DUX12_OUT_TAG               0x40

//initialize temperature polling
int i2c_init_temp_probe(void);

//retrieve the temperature (fahrenheit) from the device
double i2c_get_temp(void);
void* i2c_get_acc();

#endif
#define I2C_H_
```

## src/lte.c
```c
#include <stdio.h>
#include <ncs_version.h>
#include <zephyr/kernel.h>
#include <zephyr/net/socket.h>
#include <zephyr/logging/log.h>
#include <modem/nrf_modem_lib.h>
#include <modem/lte_lc.h>
#include <dk_buttons_and_leds.h>

K_SEM_DEFINE(lte_connected, 0, 1);

LOG_MODULE_REGISTER(LTE_Module, LOG_LEVEL_INF);

// Handler for LTE events
void lte_handler(const struct lte_lc_evt *const evt)
{
	switch (evt->type)
	{
	case LTE_LC_EVT_NW_REG_STATUS:  // Change in network registration status

		// Verify device network registration, if not connected, break
		if ((evt->nw_reg_status != LTE_LC_NW_REG_REGISTERED_HOME) &&
			(evt->nw_reg_status != LTE_LC_NW_REG_REGISTERED_ROAMING))
		{
			break;
		}
		LOG_INF("Network registration status: %s",
				evt->nw_reg_status == LTE_LC_NW_REG_REGISTERED_HOME ? 
				"Connected - home network" : "Connected - roaming");
		k_sem_give(&lte_connected);  // Signal that device is connected to LTE network
		break;

	case LTE_LC_EVT_RRC_UPDATE:  // Change in RRC connection state
		LOG_INF("RRC mode: %s", evt->rrc_mode == LTE_LC_RRC_MODE_CONNECTED ? "Connected" : "Idle");
		break;

	default:
		break;
	}
}

// Initialize and configure the modem
int modem_configure(void)
{
	int err;

	LOG_INF("Initializing modem library");
	err = nrf_modem_lib_init();
	if (err)
	{
		LOG_ERR("Failed to initialize the modem library, error: %d", err);
		return err;
	}

	LOG_INF("Connecting to LTE network");
	err = lte_lc_connect_async(lte_handler);
	if (err)
	{
		LOG_ERR("Error in lte_lc_connect_async, error: %d", err);
		return err;
	}

	// Start with LTE deactivated
	err = lte_lc_func_mode_set(LTE_LC_FUNC_MODE_DEACTIVATE_LTE);
	if (err)
	{
		LOG_ERR("Failed to deactivate LTE and enable GNSS functional mode");
		return err;
	}

	return 0;
}
```

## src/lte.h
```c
#include <stdio.h>
#include <ncs_version.h>
#include <zephyr/kernel.h>
#include <zephyr/net/socket.h>
#include <zephyr/logging/log.h>
#include <modem/nrf_modem_lib.h>
#include <modem/lte_lc.h>
#include <dk_buttons_and_leds.h>

extern struct k_sem lte_connected;

// Handler for LTE events
void lte_handler(const struct lte_lc_evt *const evt);

// Initialize and configure the modem
int modem_configure(void);
```

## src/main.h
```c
extern struct lock lock_placeholder;
```
